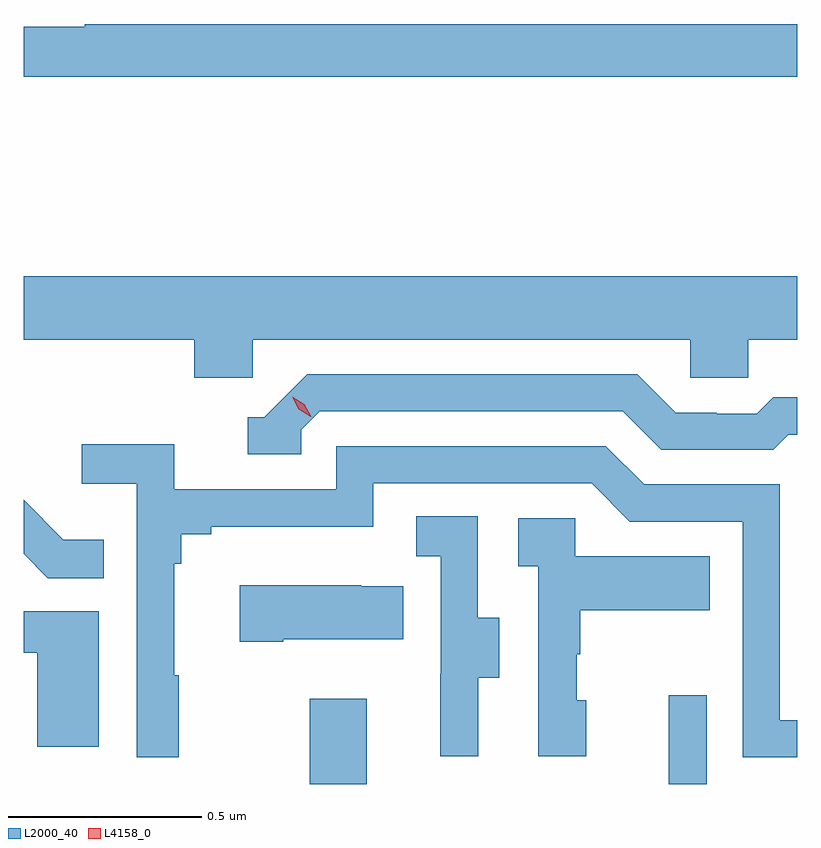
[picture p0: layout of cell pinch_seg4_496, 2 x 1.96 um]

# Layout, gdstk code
import gdstk
lib = gdstk.Library(unit=1e-6, precision=1e-09)
def R(c, l, rs):  # rectangles x0, y0, x1, y1
    for r in rs: c.add(gdstk.rectangle(r[:2], r[2:], *l))
def P(c, l, *ps):  # polygons
    for p in ps: c.add(gdstk.Polygon(p, *l))
L2000_40 = (2000, 40)
L4158_0 = (4158, 0)

pinch_seg4_496 = lib.new_cell('pinch_seg4_496')
R(pinch_seg4_496, L2000_40, [(933.28,763.704,933.427,763.924), (934.208,763.704,934.305,763.933)])
P(pinch_seg4_496, L2000_40, [(934.54,765.668),(932.698,765.668),(932.698,765.661),(932.54,765.661),(932.54,765.532),(934.54,765.532)],
  [(933.132,764.852),(934.263,764.852),(934.263,764.754),(934.413,764.754),(934.413,764.852),(934.54,764.852),(934.54,765.016),(932.54,765.016),(932.54,764.852),(932.981,764.852),(932.981,764.754),(933.132,764.754)],
  [(933.258,764.619),(933.306,764.667),(934.089,764.667),(934.188,764.568),(934.477,764.568),(934.516,764.607),(934.54,764.607),(934.54,764.704),(934.477,764.704),(934.435,764.661),(934.332,764.661),(934.332,764.664),(934.225,764.664),(934.126,764.763),(933.273,764.763),(933.162,764.652),(933.119,764.652),(933.119,764.556),(933.258,764.556)],
  [(932.941,763.985),(932.929,763.985),(932.929,764.273),(932.948,764.273),(932.948,764.35),(933.025,764.35),(933.025,764.369),(933.444,764.369),(933.444,764.481),(934.008,764.481),(934.107,764.382),(934.398,764.382),(934.398,763.773),(934.54,763.773),(934.54,763.869),(934.494,763.869),(934.494,764.478),(934.144,764.478),(934.045,764.577),(933.348,764.577),(933.348,764.466),(932.93,764.466),(932.93,764.582),(932.691,764.582),(932.691,764.48),(932.832,764.48),(932.832,763.773),(932.941,763.773)],
  [(932.747,764.335),(932.643,764.335),(932.54,764.438),(932.54,764.299),(932.603,764.236),(932.747,764.236)],
  [(933.715,763.978),(933.769,763.978),(933.769,764.133),(933.714,764.133),(933.714,764.396),(933.555,764.396),(933.555,764.293),(933.618,764.293),(933.618,763.989),(933.617,763.989),(933.617,763.776),(933.715,763.776)],
  [(933.994,763.92),(933.969,763.92),(933.969,764.039),(933.979,764.039),(933.979,764.153),(934.313,764.153),(934.313,764.293),(933.966,764.293),(933.966,764.391),(933.819,764.391),(933.819,764.267),(933.87,764.267),(933.87,763.776),(933.994,763.776)],
  [(933.211,764.078),(933.521,764.078),(933.521,764.215),(933.413,764.215),(933.413,764.218),(933.099,764.218),(933.099,764.071),(933.211,764.071)],
  [(932.734,764.151),(932.54,764.151),(932.54,764.043),(932.576,764.043),(932.576,763.8),(932.734,763.8)])
P(pinch_seg4_496, L4158_0, [(933.282,764.653),(933.251,764.672),(933.235,764.705),(933.235,764.705),(933.235,764.705),(933.266,764.686),(933.283,764.653),(933.283,764.653)])

lib.write_gds('pinch_seg4_496.gds')
